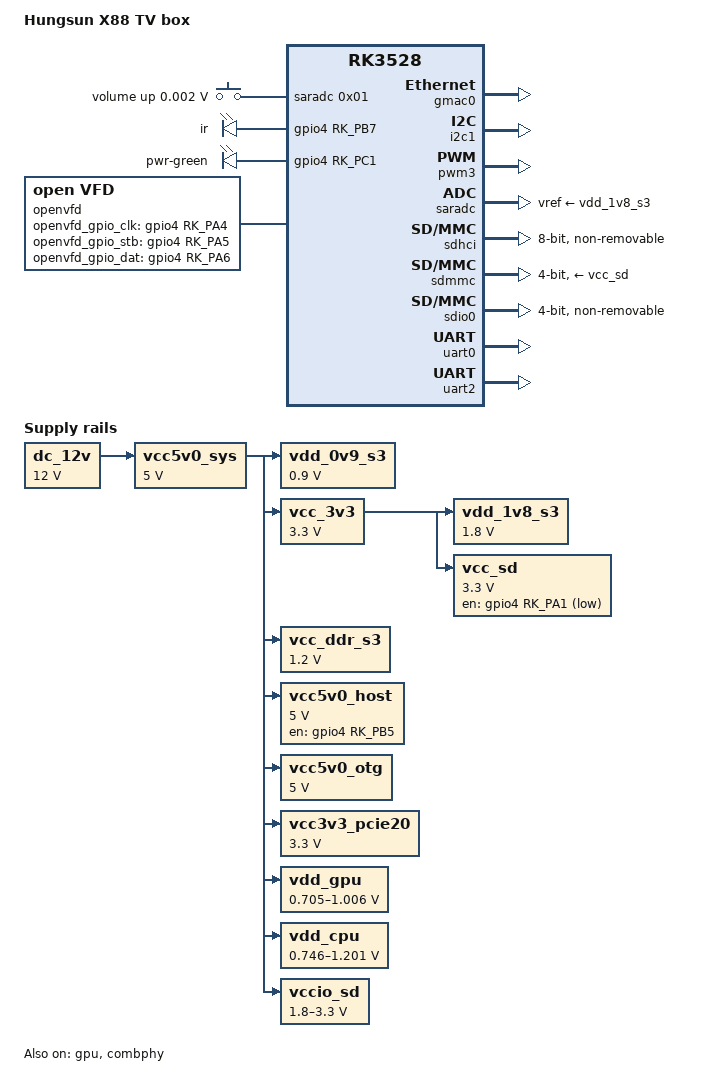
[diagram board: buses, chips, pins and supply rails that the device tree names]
// SPDX-License-Identifier: (GPL-2.0+ OR MIT)
/dts-v1/;
#include <dt-bindings/gpio/gpio.h>
#include <dt-bindings/input/input.h>
#include <dt-bindings/leds/common.h>
#include <dt-bindings/pwm/pwm.h>
#include <dt-bindings/pinctrl/rockchip.h>
#include <dt-bindings/soc/rockchip,vop2.h>

#include "rk3528.dtsi"

/ {
	model = "Hungsun X88 TV box";
	compatible = "hungsun,x88",  "rockchip,rk3528";
	version = "20260326";

	aliases {
		ethernet0 = &gmac0;
		mmc0 = &sdmmc;
		mmc1 = &sdhci;
		mmc2 = &sdio0;
		serial0 = &uart0;
	};

	chosen: chosen{
		stdout-path = "serial0:1500000n8";
	};


	dc_12v: dc-12v {
		compatible = "regulator-fixed";
		regulator-name = "dc_12v";
		regulator-always-on;
		regulator-boot-on;
		regulator-min-microvolt = <12000000>;
		regulator-max-microvolt = <12000000>;
	};
	
	vcc5v0_sys: vcc5v0-sys {
		compatible = "regulator-fixed";
		regulator-name = "vcc5v0_sys";
		regulator-always-on;
		regulator-boot-on;
		regulator-min-microvolt = <5000000>;
		regulator-max-microvolt = <5000000>;
		vin-supply = <&dc_12v>;
	};

	vdd_0v9_s3: vdd-0v9-s3 {
		compatible = "regulator-fixed";
		regulator-name = "vdd_0v9_s3";
		regulator-always-on;
		regulator-boot-on;
		regulator-min-microvolt = <900000>;
		regulator-max-microvolt = <900000>;
		vin-supply = <&vcc5v0_sys>;
	};

	vcc_3v3: vcc-3v3 {
		compatible = "regulator-fixed";
		regulator-name = "vcc_3v3";
		regulator-always-on;
		regulator-boot-on;
		regulator-min-microvolt = <3300000>;
		regulator-max-microvolt = <3300000>;
		vin-supply = <&vcc5v0_sys>;
	};

	vdd_1v8_s3: vdd-1v8-s3 {
		compatible = "regulator-fixed";
		regulator-name = "vdd_1v8_s3";
		regulator-always-on;
		regulator-boot-on;
		regulator-min-microvolt = <1800000>;
		regulator-max-microvolt = <1800000>;
		vin-supply = <&vcc_3v3>;
	};

	vcc_ddr_s3: vcc-ddr-s3 {
		compatible = "regulator-fixed";
		regulator-name = "vcc_ddr_s3";
		regulator-always-on;
		regulator-boot-on;
		regulator-min-microvolt = <1200000>;
		regulator-max-microvolt = <1200000>;
		vin-supply = <&vcc5v0_sys>;
	};

	vcc5v0_host: vcc5v0-host-regulator {
		compatible = "regulator-fixed";
		regulator-name = "vcc5v0_host";
		regulator-boot-on;
		regulator-always-on;
		regulator-min-microvolt = <5000000>;
		regulator-max-microvolt = <5000000>;
		enable-active-high;
		gpio = <&gpio4 RK_PB5 GPIO_ACTIVE_HIGH>;
		vin-supply = <&vcc5v0_sys>;
		pinctrl-names = "default";
		pinctrl-0 = <&vcc5v0_host_en>;
	};

	vcc5v0_otg: vcc5v0-otg-regulator {
		compatible = "regulator-fixed";
		regulator-name = "vcc5v0_otg";
		regulator-min-microvolt = <5000000>;
		regulator-max-microvolt = <5000000>;
		vin-supply = <&vcc5v0_sys>;
	};

	vcc3v3_pcie20: vcc3v3-pcie20 {
		compatible = "regulator-fixed";
		regulator-name = "vcc3v3_pcie20";
		regulator-min-microvolt = <3300000>;
		regulator-max-microvolt = <3300000>;
		startup-delay-us = <5000>;
		vin-supply = <&vcc5v0_sys>;
	};

	vdd_gpu: vdd_logic: vdd-logic {
		compatible = "pwm-regulator";
		pwms = <&pwm2 0 5000 1>;
		regulator-name = "vdd_logic";
		regulator-min-microvolt = <705000>;
		regulator-max-microvolt = <1006000>;
		regulator-init-microvolt = <900000>;
		regulator-always-on;
		regulator-boot-on;
		regulator-settling-time-up-us = <250>;
		pwm-supply = <&vcc5v0_sys>;
		status = "okay";
	};

	vdd_cpu: vdd-cpu {
		compatible = "pwm-regulator";
		pwms = <&pwm1 0 5000 1>;
		regulator-name = "vdd_cpu";
		regulator-min-microvolt = <746000>;
		regulator-max-microvolt = <1201000>;
		regulator-init-microvolt = <953000>;
		regulator-always-on;
		regulator-boot-on;
		regulator-settling-time-up-us = <250>;
		pwm-supply = <&vcc5v0_sys>;
		status = "okay";
	};

	vcc_sd: vcc-sd {
		compatible = "regulator-fixed";
		regulator-boot-on;
		gpio = <&gpio4 RK_PA1 GPIO_ACTIVE_LOW>;
		regulator-name = "vcc_sd";
		regulator-min-microvolt = <3300000>;
		regulator-max-microvolt = <3300000>;
		vin-supply = <&vcc_3v3>;
	};

	vccio_sd: vccio-sd {
		compatible = "regulator-gpio";
		regulator-name = "vccio_sd";
		regulator-min-microvolt = <1800000>;
		regulator-max-microvolt = <3300000>;
		gpios = <&gpio4 RK_PB6 GPIO_ACTIVE_HIGH>;
		vin-supply = <&vcc5v0_sys>;
		states = <1800000 0x0 3300000 0x1>;
	};

	grf: syscon@ff300000 {
		compatible = "rockchip,rk3528-grf", "syscon", "simple-mfd";
		reg = <0x0 0xff300000 0x0 0x90000>;

		grf_cru: grf-clock-controller {
			compatible = "rockchip,rk3528-grf-cru";
			#clock-cells = <1>;
		};
	};

	sdio_pwrseq: sdio-pwrseq {
		compatible = "mmc-pwrseq-simple";
		pinctrl-names = "default";
		pinctrl-0 = <&wifi_enable_h &clkm1_32k_out>;
		//reset-gpios = <&gpio1 RK_PA6 GPIO_ACTIVE_HIGH>;
	};


	adc-keys {
		status = "okay";
		compatible = "adc-keys";
		io-channels = <&saradc 0x01>;
		io-channel-names = "buttons";
		keyup-threshold-microvolt = <1800000>;
		poll-interval = <100>;

		vol-up-key {
			label = "volume up";
			linux,code = <0x73>;
			press-threshold-microvolt = <1750>;
		};
	};

	seekwcn_boot {
		compatible = "seekwave,sv6160";
		dma_type = <0x01>;
		status = "okay";
	};

	sky-storage {
		compatible = "rockchip,hgs_vendor_storage";
		status = "okay";
	};

	gpio_leds: gpio-leds {
		compatible = "gpio-leds";

		ir {
			gpios = <&gpio4 RK_PB7 GPIO_ACTIVE_HIGH>;
			linux,default-trigger = "none";
			default-state = "on";
			/*  default-state = "off";     V1.4  */
		};

		pwr-green {
			gpios = <&gpio4 RK_PC1 GPIO_ACTIVE_HIGH>;
			linux,default-trigger = "heartbeat";
			default-state = "off";
			retain-state-suspended;
			retain-state-shutdown;
		};
	};

	openvfd {
		compatible = "open,vfd";
		dev_name = "openvfd";
		openvfd_gpio_clk = <&gpio4 RK_PA4 GPIO_ACTIVE_HIGH>;
		openvfd_gpio_stb = <&gpio4 RK_PA5 GPIO_ACTIVE_HIGH>;
		openvfd_gpio_dat = <&gpio4 RK_PA6 GPIO_ACTIVE_HIGH>;
		openvfd_chars = [04 00 01 02 03];
		openvfd_dot_bits = [00 01 02 03 04 05 06];
		openvfd_display_type = <0x03 0x00 0x00 0x00>;
		status = "okay";
	};
};


&cru {
	rockchip,grf = <&grf>;
};


&scmi_clk {
	assigned-clocks = <&scmi_clk SCMI_CLK_CPU>;
	assigned-clock-rates = <1200000000>;
};


&gmac0 {
	tx_delay = <0x30>;
	rx_delay = <0x3f>; 
	status = "okay";
};


&gpu {
	mali-supply = <&vdd_gpu>;
	status = "okay";
};

&i2c1 {
	status = "okay";
	pinctrl-names = "default";
	pinctrl-0 = <&i2c1m0_xfer>;

	hym8563: hym8563@51 {
		compatible = "haoyu,hym8563";
		pinctrl-names = "default";
		pinctrl-0 = <&hym8563_irq>;
		// irq_gpio = <&gpio4 RK_PB2 0x02>;
		interrupt-parent = <&gpio4>;
		interrupts = <RK_PB2 IRQ_TYPE_EDGE_FALLING>;
		wakeup-source;
		#clock-cells = <0>;
		status = "disabled";
	};
};
	
&pwm1 {
	status ="disabled";
};

&pwm2 {
	status ="disabled";
};

&pwm3 {
	// compatible = "rockchip,remotectl-pwm";
	compatible = "rockchip,remotectl-pwm-v4";
	pinctrl-names = "default";
	pinctrl-0 = <&pwm3m0_pins>;
	interrupts = <GIC_SPI 53 IRQ_TYPE_LEVEL_HIGH GIC_SPI 54 IRQ_TYPE_LEVEL_HIGH>;
	remote_pwm_id = <3>;
	handle_cpu_id = <1>;
	remote_support_psci = <0>;
	wakeup-source;
	status = "okay";
	ir_key5 {
		rockchip,usercode = <0xf708>;
		rockchip,key_table = <0xf5 0x71 0xfc 0x8d 0xf4 0x74 0x8c 0xb7 0x8b 0xb8 0x8a 0xb9 0x89 0xba 0xfa 0xbb 0xbd 0x66 0xed 0x67 0xea 0x69 0xe1 0xe8 0xeb 0x6a 0xbe 0x9e 0xec 0x6c 0xe8 0x8b 0xf1 0x73 0xef 0x68 0xe3 0x72 0xee 0x6d 0x8f 0x184 0x8e 0x80>;
	};

	ir_key6 {
		rockchip,usercode = <0xfe01>;
		rockchip,key_table = <0xec 0xe8 0xe6 0x9e 0xe9 0x67 0xe5 0x6c 0xae 0x69 0xaf 0x6a 0xee 0x66 0xe7 0x73 0xef 0x72 0xbf 0x74 0xbe 0x71 0xb3 0x8b 0xff 0x184 0xb1 0x02 0xf2 0x03 0xf3 0x04 0xb5 0x05 0xf6 0x06 0xf7 0x07 0xb9 0x08 0xfa 0x09 0xfb 0x0a 0xfe 0x0b 0xbb 0xbd 0xaa 0xa8 0xa5 0xa4 0xad 0x80 0xab 0xd0 0xbd 0x0e 0xbc 0x8d 0xf0 0xb8>;
	};

	ir_key12 {
		rockchip,usercode = <0x7f80>;
		rockchip,key_table = <0xec 0xe8 0xd8 0x9e 0xc7 0x67 0xbf 0x6c 0xc8 0x69 0xc6 0x6a 0x8c 0x66 0x78 0x73 0x76 0x72 0x7e 0x74 0xed 0x74 0x7c 0x8b 0xb7 0x184>;
	};

	ir_key13 {
		rockchip,usercode = <0x4040>;
		rockchip,key_table = <0xe5 0x66 0xbd 0x9e 0xba 0x8b 0xf2 0xe8 0xf4 0x67 0xf1 0x6c 0xef 0x69 0xee 0x6a 0xe3 0x72 0xea 0x73 0xe8 0x72 0xe7 0x73 0xbc 0x71 0xb2 0x74 0x4d 0x74 0xb8 0x184 0xbb 0x184 0xac 0xb7 0xa4 0xb8 0xa8 0xb9 0xab 0xba 0xe0 0x7b 0xe1 0x7a 0xfe 0x02 0xfd 0x03 0xfc 0x04 0xfb 0x05 0xfa 0x06 0xf9 0x07 0xf8 0x08 0xf7 0x09 0xf6 0x0a 0xff 0x0b 0xf0 0x39 0xf3 0x0e>;
	};

	ir_key14 {
		rockchip,usercode = <0x707>;
		rockchip,key_table = <0xfd 0x74 0xc1 0xa4 0xec 0x184 0x9f 0x67 0x9a 0x69 0x97 0xe8 0x9d 0x6a 0x9e 0x6c 0xd2 0x66 0xe5 0x8b 0xed 0xa8 0xef 0xd0 0x77 0xe7 0xf8 0x73 0xf4 0x72 0xa3 0x0e 0xf0 0x71>;
	};

	ir_key15 {
		rockchip,usercode = <0xdf00>;
		rockchip,key_table = <0xe3 0x74 0xb4 0x3f 0xfe 0x43 0xa2 0x73 0xb0 0x42 0xa0 0x44 0xa3 0x72 0xbd 0x66 0xf5 0x9e 0xe5 0x67 0xb8 0x69 0xf9 0xe8 0xf8 0x6a 0xb7 0x6c 0xfc 0x184 0xe7 0x8b 0xab 0x02 0xe9 0x03 0xea 0x04 0xaf 0x05 0xed 0x06 0xee 0x07 0xb3 0x08 0xf1 0x09 0xf2 0x0a 0xbe 0xe3 0xf3 0x0b 0xef 0x0e 0x1c 0x74 0x1a 0x67 0x47 0x69 0x06 0xe8 0x07 0x6a 0x48 0x6c 0x42 0x66 0x18 0x8b 0x5c 0x72 0x5d 0x73>;
	};

	ir_key16 {
		rockchip,usercode = <0x807f>;
		rockchip,key_table = <0x7e 0x74>;
	};

	ir_key17 {
		rockchip,usercode = <0xfd02>;
		rockchip,key_table = <0xf2 0xe8 0xec 0x9e 0xf6 0x67 0xee 0x6c 0xf5 0x69 0xf1 0x6a 0xef 0x66 0xf8 0x73 0xf9 0x72 0xf7 0x74 0xf4 0x71 0xf3 0x8b 0xbf 0x184 0xeb 0x02 0xea 0x03 0xe9 0x04 0xe7 0x05 0xe6 0x06 0xe5 0x07 0xe3 0x08 0xe2 0x09 0xe1 0x0a 0xbe 0x0b 0xbd 0x0e 0xe4 0x43 0xd4 0x44 0xf0 0x42 0xfb 0x7a 0xfa 0x7b 0xff 0xb7 0xfe 0xb8 0xfd 0xb9 0xfc 0xba>;
	};

	ir_key18 {
		rockchip,usercode = <0xef10>;
		rockchip,key_table = <0xa2 0x74 0xe8 0x73 0xec 0x72 0xa6 0x8d 0xa5 0x184 0xff 0x9e 0xba 0x67 0xf8 0x69 0xbe 0xe8 0xfe 0x6a 0xaa 0x6c 0xb9 0x66 0xfa 0x8b 0xe5 0xa8 0xa7 0xa4 0xe2 0xd0 0xa0 0x4d 0xb0 0x0b 0xa1 0x0e 0xaf 0x02 0xad 0x03 0xef 0x04 0xb3 0x05 0xb5 0x06 0xee 0x07 0xf0 0x08 0xb1 0x09 0xf2 0x0a>;
	};

	ir_key20 {
		rockchip,usercode = <0xf709>;
		rockchip,key_table = <0xf5 0x74 0xdd 0xba 0xff 0x67 0xfe 0x6c 0xfd 0x6a 0xfc 0x69 0xe0 0xe8 0xf3 0x66 0xb5 0x184 0xe3 0x9e 0x79 0xb7 0x8d 0xb9 0xa7 0x73 0xa2 0x72>;
	};
};


&cpu0 {
	cpu-supply = <&vdd_cpu>;
};

&cpu1 {
	cpu-supply = <&vdd_cpu>;
};

&cpu2 {
	cpu-supply = <&vdd_cpu>;
};

&cpu3 {
	cpu-supply = <&vdd_cpu>;
};

&saradc {
	vref-supply = <&vdd_1v8_s3>;
	status = "okay";
};

&sdhci {
	bus-width = <8>;
	no-sd;
	no-sdio;
	non-removable;
	mmc-hs400-1_8v;
	mmc-hs400-enhanced-strobe;
	max-frequency = <150000000>;
	supports-emmc;
	fixed-emmc-driver-type = <0x04>;
	status = "okay";
};

&sdmmc {
	bus-width = <4>;
	cap-mmc-highspeed;
	cap-sd-highspeed;
	disable-wp;
	max-frequency = <150000000>;
	pinctrl-names = "default";
	pinctrl-0 = <&sdmmc_clk &sdmmc_cmd &sdmmc_det &sdmmc_bus4>;
	rockchip,default-sample-phase = <90>;
	supports-sd;
	sd-uhs-sdr12;
	sd-uhs-sdr25;
	sd-uhs-sdr50;
	sd-uhs-sdr104;
	vqmmc-supply = <&vccio_sd>;
	vmmc-supply = <&vcc_sd>;
	status = "okay";
};

&sdio0 {
	max-frequency = <150000000>;
	/*   max-frequency = <200000000>;     V1.0    */
	no-sd;
	no-mmc;
	supports-sdio;
	bus-width = <4>;
	disable-wp;
	cap-sd-highspeed;
	cap-sdio-irq;
	keep-power-in-suspend;
	non-removable;
	mmc-pwrseq = <&sdio_pwrseq>;
	pinctrl-names = "default";
	pinctrl-0 = <&sdio0_bus4 &sdio0_cmd &sdio0_clk>;
	/delete-property/ rockchip,use-v2-tuning;
	sd-uhs-sdr104;
	status = "okay";
	wireless_wlan: wireless-wlan {
		compatible = "wlan-platdata";
		rockchip,grf = <&grf>;
		/* wifi_chip_type = "AIC8801";  [00];	 AIC880, SV6160 */
		pinctrl-names = "default";
		pinctrl-0 = <&wifi_host_wake_irq>;
		WIFI,host_wake_irq = <&gpio1 RK_PA7 GPIO_ACTIVE_HIGH>;    //GPIO_ACTIVE_HIGH 0
		WIFI,reset_gpio = <&gpio1 RK_PA6 GPIO_ACTIVE_HIGH>;  //GPIO_ACTIVE_HIGH 0   V1.4 only
		status = "okay";
	};
};

&combphy {
	status = "okay";
};

&uart0 {
	pinctrl-names = "default";
	pinctrl-0 = <&uart0m0_xfer>;
	status = "okay";
};

&uart2 {
	dma-names = "tx", "rx";
	pinctrl-names = "default";
	pinctrl-0 = <&uart2m1_xfer &uart2m1_ctsn>, <&uart2m1_rtsn>;
	uart-has-rtscts;
	status = "okay";

	wireless_bluetooth: wireless-bluetooth {
		compatible = "bluetooth-platdata";
		uart_rts_gpios = <&gpio1 RK_PB2 GPIO_ACTIVE_LOW>;
		pinctrl-names = "default", "rts_gpio";
		pinctrl-0 = <&uart2m1_rtsn>;
		pinctrl-1 = <&uart2m1_gpios>;
		BT,reset_gpio    = <&gpio1 RK_PC1 GPIO_ACTIVE_HIGH>; 		//49
		BT,wake_gpio     = <&gpio1 RK_PC0 GPIO_ACTIVE_HIGH>;
		BT,wake_host_irq = <&gpio1 RK_PC2 GPIO_ACTIVE_HIGH>;			//50
		status = "disabled";
		/* status = "okay";   V1.4  */
	};
};


&pinctrl {
	usb {
		vcc5v0_host_en: vcc5v0-host-en {
			rockchip,pins = <&gpio4 RK_PB5 RK_FUNC_GPIO &pcfg_pull_none>;
		};
	};

	sdio-pwrseq {
		wifi_enable_h: wifi-enable-h {
			rockchip,pins = <&gpio1 RK_PA6 RK_FUNC_GPIO &pcfg_pull_none>;
		};
	};

	wireless-wlan {
		wifi_host_wake_irq: wifi-host-wake-irq {
			rockchip,pins = <&gpio1 RK_PA7 RK_FUNC_GPIO &pcfg_pull_down>;
		};
	};

	wireless-bluetooth {
		uart2m1_gpios: uart2m1-gpios {
			rockchip,pins = <&gpio1 RK_PB2 RK_FUNC_GPIO &pcfg_pull_none>;
		};
	};

	hym8563 {
		hym8563_irq: hym8563-irq {
			rockchip,pins = <4 RK_PB2 RK_FUNC_GPIO &pcfg_pull_none>;
			irq_gpio = <&gpio4 RK_PB2 IRQ_TYPE_EDGE_FALLING>;	
		};
	};
};



